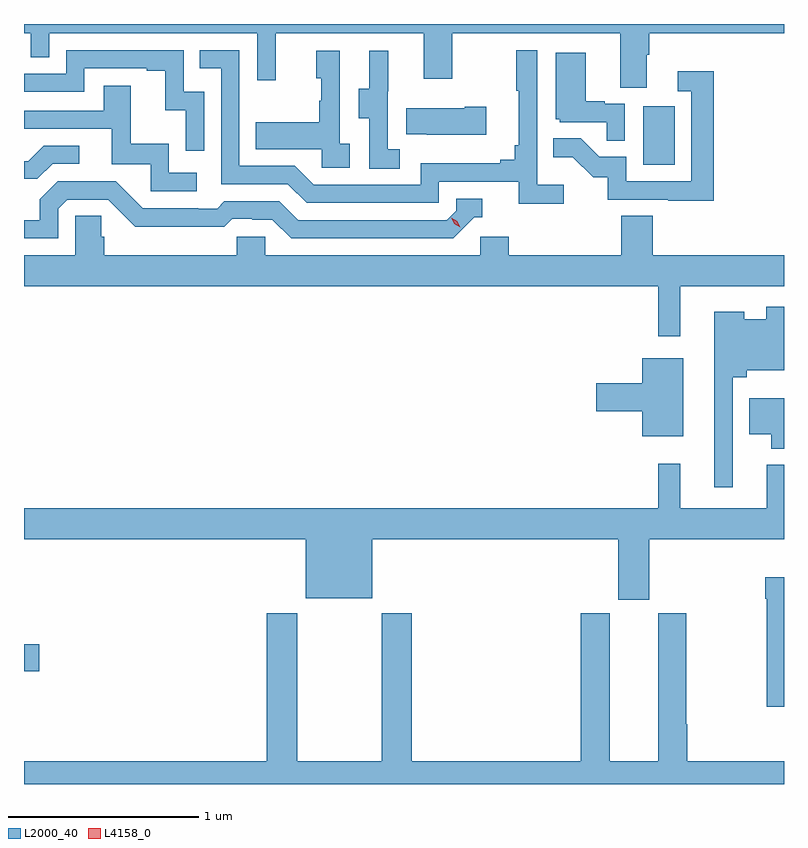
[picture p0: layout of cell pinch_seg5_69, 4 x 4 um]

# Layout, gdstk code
import gdstk
lib = gdstk.Library(unit=1e-6, precision=1e-09)
def R(c, l, rs):  # rectangles x0, y0, x1, y1
    for r in rs: c.add(gdstk.rectangle(r[:2], r[2:], *l))
def P(c, l, *ps):  # polygons
    for p in ps: c.add(gdstk.Polygon(p, *l))
L2000_40 = (2000, 40)
L4158_0 = (4158, 0)

pinch_seg5_69 = lib.new_cell('pinch_seg5_69')
R(pinch_seg5_69, L2000_40, [(1055.208,896.026,1055.287,896.168), (1058.468,898.692,1058.632,898.999)])
P(pinch_seg5_69, L2000_40, [(1058.485,899.272),(1058.498,899.272),(1058.498,899.384),(1059.208,899.384),(1059.208,899.433),(1055.208,899.433),(1055.208,899.384),(1055.244,899.384),(1055.244,899.257),(1055.34,899.257),(1055.34,899.384),(1056.435,899.384),(1056.435,899.136),(1056.533,899.136),(1056.533,899.384),(1057.313,899.384),(1057.313,899.145),(1057.461,899.145),(1057.461,899.384),(1058.345,899.384),(1058.345,899.098),(1058.485,899.098)],
  [(1058.05,898.588),(1057.908,898.588),(1057.908,899.296),(1057.8,899.296),(1057.8,899.083),(1057.811,899.083),(1057.811,898.795),(1057.792,898.795),(1057.792,898.718),(1057.715,898.718),(1057.715,898.699),(1057.296,898.699),(1057.296,898.587),(1056.732,898.587),(1056.633,898.686),(1056.342,898.686),(1056.342,899.295),(1056.133,899.295),(1056.133,899.199),(1056.246,899.199),(1056.246,898.59),(1056.596,898.59),(1056.695,898.491),(1057.392,898.491),(1057.392,898.602),(1057.811,898.602),(1057.811,898.486),(1058.05,898.486)],
  [(1056.156,899.076),(1056.048,899.076),(1056.048,899.295),(1055.43,899.295),(1055.43,899.172),(1055.208,899.172),(1055.208,899.076),(1055.526,899.076),(1055.526,899.199),(1055.855,899.199),(1055.855,899.187),(1055.951,899.187),(1055.951,898.979),(1056.06,898.979),(1056.06,898.767),(1056.156,898.767)],
  [(1056.922,898.802),(1056.87,898.802),(1056.87,899.293),(1056.746,899.293),(1056.746,899.148),(1056.772,899.148),(1056.772,899.03),(1056.762,899.03),(1056.762,898.915),(1056.427,898.915),(1056.427,898.775),(1056.774,898.775),(1056.774,898.677),(1056.922,898.677)],
  [(1057.186,898.775),(1057.122,898.775),(1057.122,899.079),(1057.124,899.079),(1057.124,899.293),(1057.025,899.293),(1057.025,899.091),(1056.971,899.091),(1056.971,898.936),(1057.026,898.936),(1057.026,898.672),(1057.186,898.672)],
  [(1058.37,899.013),(1058.264,899.013),(1058.264,899.026),(1058.164,899.026),(1058.164,899.281),(1058.006,899.281),(1058.006,898.932),(1058.028,898.932),(1058.028,898.917),(1058.275,898.917),(1058.275,898.819),(1058.37,898.819)],
  [(1058.837,899.185),(1058.649,899.185),(1058.649,899.079),(1058.721,899.079),(1058.721,898.605),(1058.379,898.605),(1058.379,898.734),(1058.235,898.734),(1058.137,898.832),(1057.993,898.832),(1057.993,898.733),(1058.097,898.733),(1058.204,898.626),(1058.281,898.626),(1058.281,898.509),(1058.599,898.509),(1058.599,898.504),(1058.837,898.504)],
  [(1056.118,898.65),(1055.97,898.65),(1055.97,898.804),(1055.771,898.804),(1055.771,899.107),(1055.627,899.107),(1055.627,898.977),(1055.208,898.977),(1055.208,898.881),(1055.669,898.881),(1055.669,898.695),(1055.874,898.695),(1055.874,898.554),(1056.118,898.554)],
  [(1057.642,898.998),(1057.529,898.998),(1057.529,898.99),(1057.219,898.99),(1057.219,898.853),(1057.327,898.853),(1057.327,898.85),(1057.642,898.85)],
  [(1055.358,898.698),(1055.5,898.698),(1055.5,898.791),(1055.312,898.791),(1055.231,898.71),(1055.208,898.71),(1055.208,898.618),(1055.278,898.618)],
  [(1055.388,898.461),(1055.436,898.509),(1055.652,898.509),(1055.794,898.367),(1056.03,898.367),(1056.03,898.365),(1056.263,898.365),(1056.305,898.407),(1056.408,898.407),(1056.408,898.404),(1056.515,898.404),(1056.614,898.305),(1057.467,898.305),(1057.578,898.416),(1057.621,898.416),(1057.621,898.512),(1057.482,898.512),(1057.482,898.449),(1057.434,898.401),(1056.651,898.401),(1056.552,898.5),(1056.263,898.5),(1056.224,898.461),(1056.125,898.461),(1056.125,898.464),(1055.832,898.464),(1055.691,898.605),(1055.385,898.605),(1055.291,898.511),(1055.291,898.401),(1055.208,898.401),(1055.208,898.305),(1055.388,898.305)],
  [(1058.662,898.052),(1059.208,898.052),(1059.208,898.216),(1058.516,898.216),(1058.516,898.424),(1058.351,898.424),(1058.351,898.216),(1057.76,898.216),(1057.76,898.314),(1057.608,898.314),(1057.608,898.216),(1056.477,898.216),(1056.477,898.314),(1056.327,898.314),(1056.327,898.216),(1055.63,898.216),(1055.63,898.314),(1055.615,898.314),(1055.615,898.424),(1055.478,898.424),(1055.478,898.216),(1055.208,898.216),(1055.208,898.052),(1058.545,898.052),(1058.545,897.789),(1058.662,897.789)],
  [(1058.937,897.575),(1059.011,897.575),(1059.011,897.611),(1059.208,897.611),(1059.208,897.946),(1059.114,897.946),(1059.114,897.88),(1058.998,897.88),(1058.998,897.919),(1058.84,897.919),(1058.84,896.994),(1058.937,896.994)],
  [(1058.677,897.673),(1058.462,897.673),(1058.462,897.542),(1058.22,897.542),(1058.22,897.395),(1058.462,897.395),(1058.462,897.263),(1058.677,897.263)],
  [(1059.208,897.463),(1059.026,897.463),(1059.026,897.275),(1059.14,897.275),(1059.14,897.197),(1059.208,897.197)],
  [(1058.5,896.72),(1059.208,896.72),(1059.208,897.112),(1059.116,897.112),(1059.116,896.884),(1058.663,896.884),(1058.663,897.118),(1058.545,897.118),(1058.545,896.884),(1055.208,896.884),(1055.208,896.72),(1056.692,896.72),(1056.692,896.411),(1057.042,896.411),(1057.042,896.72),(1058.336,896.72),(1058.336,896.403),(1058.5,896.403)],
  [(1059.208,896.521),(1059.109,896.521),(1059.109,896.408),(1059.117,896.408),(1059.117,895.84),(1059.208,895.84)],
  [(1059.208,895.552),(1058.699,895.552),(1058.699,895.748),(1058.694,895.748),(1058.694,896.331),(1058.546,896.331),(1058.546,895.552),(1058.29,895.552),(1058.29,896.331),(1058.138,896.331),(1058.138,895.552),(1057.25,895.552),(1057.25,896.332),(1057.09,896.332),(1057.09,895.552),(1056.645,895.552),(1056.645,896.332),(1056.485,896.332),(1056.485,895.552),(1055.208,895.552),(1055.208,895.433),(1059.208,895.433)])
P(pinch_seg5_69, L4158_0, [(1057.504,898.362),(1057.473,898.381),(1057.456,898.413),(1057.456,898.413),(1057.456,898.413),(1057.487,898.394),(1057.504,898.362),(1057.504,898.362)])

lib.write_gds('pinch_seg5_69.gds')
